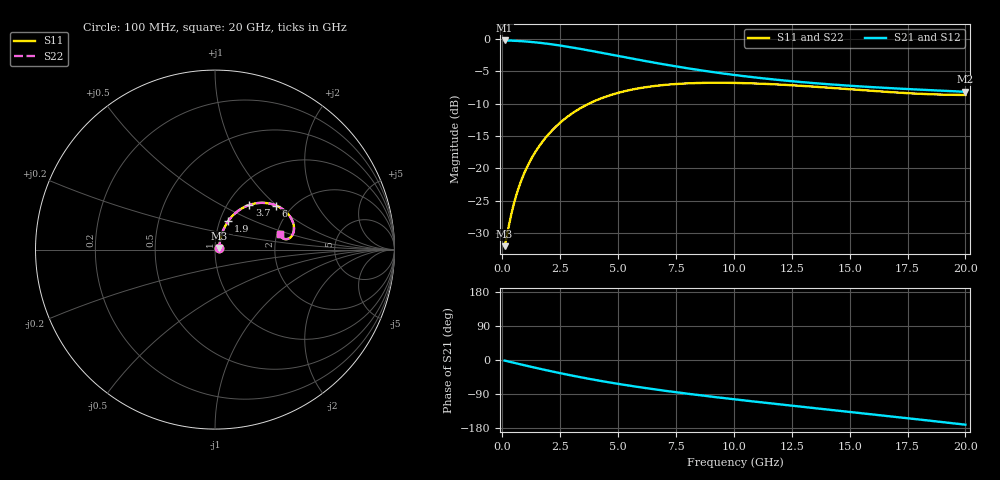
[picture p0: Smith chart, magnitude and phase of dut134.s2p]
! Touchstone file exported from HFSS 2024.1.0
!  File:  C:/UserFiles/LocalFiles/RDL_TSV_Batchsim/temp_RDL_TSV_134_1779427833.aedt
!  Generated:  01:46:39 PM May 22, 2026
!  Design:  RDL_TSV
!  Project:  temp_RDL_TSV_134_1779427833
!  Setup:  Setup1
!  Solution:  Sweep
! Variables:
!  dtsv = 5.91um
!  hbump = 3um
!  htsv = 62.93um
!  ldown = 373.99um
!  lrdl = 342.84um
!  p = 40
!  p1 = 52.89um
!  rhole = 10um
!  subl = 2493.33um
!  t = 450um
!  tdown = 3.78um
!  trdl = 2.87um
!  viad = 10um
!  wdown = 10.93um
!  wrdl = 13.26um
!  xbump = 18um
# GHz S MA R 50.000000
! Terminal data exported
! Port[1] = TM1_1_T1
! Port[2] = TM1_4_T1
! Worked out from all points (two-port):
!   200 points, 100 MHz to 20 GHz, reference 50 ohm
!   highest |S21| = -0.20 dB at 100 MHz (marker M1); lowest = -8.1 dB at 20 GHz (marker M2)
!   |S21| within 3 dB of the highest: start of sweep to 5.9 GHz
!   lowest |S11| = -32.0 dB at 100 MHz (marker M3), VSWR 1.05, Z = 52.4 + j0.982 ohm
!   |S11| at or under -10 dB: start of sweep to 3.729 GHz
!   |S22| runs from -32.0 to -6.7 dB; largest |S21 - S12| = 2.7e-14
!   S11 on the Smith chart (normalised r, x): 100 MHz: 1.05, +0.02; 1.9 GHz: 1.10, +0.36; 3.7 GHz: 1.26, +0.70; 6 GHz: 1.66, +0.99; 20 GHz: 2.06, +0.42
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0.1  0.02507 21.9  0.9767 -1.5  0.9767 -1.5  0.02507 21.9
! Gamma 0 0 0 0
! Port Impedance 50 0 50 0
0.4  0.04514 54.5  0.9735 -5.9  0.9735 -5.9  0.04514 54.5
0.5  0.05336 58.7  0.9718 -7.4  0.9718 -7.4  0.05336 58.7
0.6  0.0618 61.5  0.9698 -8.8  0.9698 -8.8  0.0618 61.5
0.8  0.07901 64.8  0.9651 -11.7  0.9651 -11.7  0.07901 64.8
1  0.09647 66.3  0.9595 -14.5  0.9595 -14.5  0.09646 66.3
1.3  0.1229 66.9  0.9493 -18.7  0.9493 -18.7  0.1229 66.9
1.6  0.1493 66.3  0.9372 -22.9  0.9372 -22.9  0.1493 66.3
1.9  0.1755 65.1  0.9235 -26.9  0.9235 -26.9  0.1754 65.1
2.6  0.2342 60.7  0.8864 -36.0  0.8864 -36.0  0.2341 60.7
3.5  0.3011 53.9  0.8326 -46.9  0.8326 -46.9  0.3011 53.9
3.7  0.3144 52.4  0.8203 -49.2  0.8203 -49.2  0.3143 52.4
4.8  0.3752 44.0  0.7533 -60.9  0.7533 -60.9  0.3751 44.0
6  0.4197 35.8  0.6862 -72.4  0.6862 -72.4  0.4197 35.8
6.8  0.4387 31.0  0.6465 -79.3  0.6465 -79.3  0.4387 31.1
8.3  0.4571 23.5  0.5837 -91.2  0.5837 -91.2  0.4571 23.6
10.1  0.4585 16.8  0.5263 -104.3  0.5263 -104.3  0.4586 16.8
11.7  0.4479 12.5  0.4882 -115.2  0.4882 -115.2  0.448 12.5
13.4  0.4298 9.5  0.4579 -126.4  0.4579 -126.4  0.4299 9.6
16.7  0.3899 8.8  0.4183 -148.2  0.4183 -148.2  0.39 8.8
18.4  0.3753 10.8  0.4037 -159.7  0.4037 -159.7  0.3754 10.9
20  0.3702 13.8  0.3917 -170.7  0.3917 -170.7  0.3703 13.9
